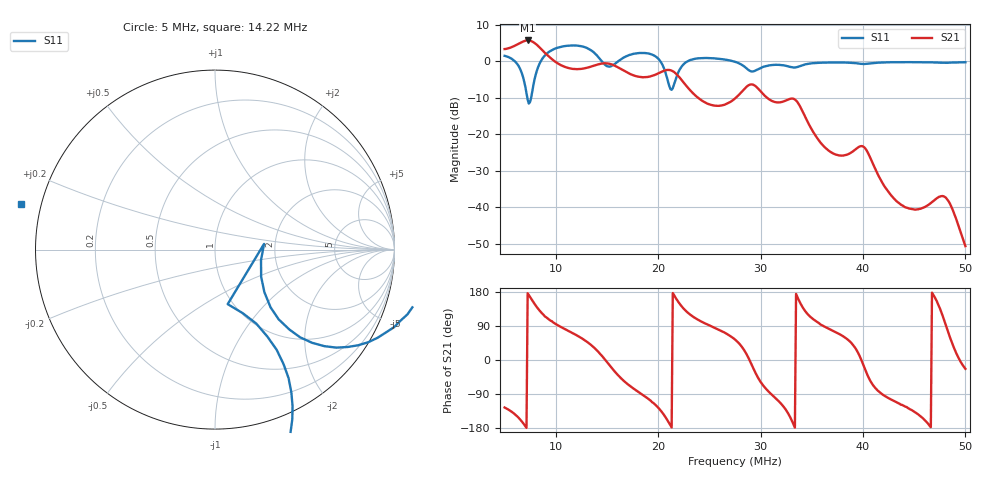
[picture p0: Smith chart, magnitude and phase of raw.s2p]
! S11/S21 only; reverse parameters are placeholders. Device calibration unverified.
! NanoVNA F V2 profile | COM3 | 2026-09-08T10:44:40.1447921-04:00 | device calibration unverified
# HZ S RI R 50
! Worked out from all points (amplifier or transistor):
!   401 points, 5 MHz to 50 MHz, reference 50 ohm
!   highest |S21| = 5.7 dB at 7.25 MHz (marker M1)
!   |S21| within 3 dB of that: start of sweep to 8.801 MHz
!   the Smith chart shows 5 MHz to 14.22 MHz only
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5000000  1.172 -0.2027  -0.8525 -1.2  0 0  0 0
6350000  0.6764 -0.5462  -1.534 -0.8163  0 0  0 0
7250000  0.2571 -0.1511  -1.928 0.1291  0 0  0 0
8487500  0.4322 -0.8728  -0.9376 1.191  0 0  0 0
1.05125e7  -0.1209 -1.577  0.047 0.8814  0 0  0 0
1.25375e7  -0.9867 -1.265  0.4262 0.6644  0 0  0 0
1.38875e7  -1.25 -0.1203  0.7757 0.4274  0 0  0 0
1.52375e7  0.0213 0.8446  0.8997 -0.2156  0 0  0 0
1.625e7  0.942 0.4338  0.5657 -0.5651  0 0  0 0
1.7375e7  1.218 -0.2459  0.2129 -0.6236  0 0  0 0
2.0075e7  0.1645 -1.049  -0.4247 -0.5439  0 0  0 0
2.0975e7  -0.4612 -0.2313  -0.7264 -0.2315  0 0  0 0
2.19875e7  0.3485 0.6275  -0.5511 0.2882  0 0  0 0
2.3675e7  1.076 0.1526  -0.1121 0.3157  0 0  0 0
2.75e7  0.8959 -0.4089  0.1814 0.2498  0 0  0 0
3.00875e7  0.7839 -0.2416  0.1804 -0.3287  0 0  0 0
3.3125e7  0.6996 -0.434  -0.2962 -0.0827  0 0  0 0
3.50375e7  0.778 -0.5281  -0.0383 0.1067  0 0  0 0
4.01e7  0.5673 -0.7214  0.0633 -0.0201  0 0  0 0
4.2575e7  0.5176 -0.8177  -0.00322 -0.0151  0 0  0 0
4.7975e7  0.2978 -0.9073  -0.00271 0.0135  0 0  0 0
5e7  0.2343 -0.9415  0.00267 -0.00115  0 0  0 0
